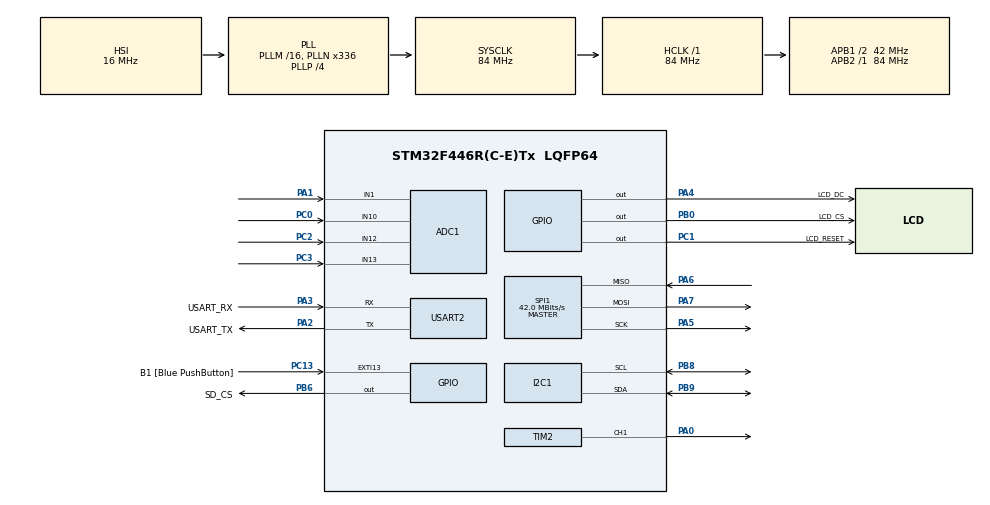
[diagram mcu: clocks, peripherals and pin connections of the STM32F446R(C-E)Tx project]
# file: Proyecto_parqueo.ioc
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ADC1.Channel-0\#ChannelRegularConversion=ADC_CHANNEL_1
ADC1.Channel-1\#ChannelRegularConversion=ADC_CHANNEL_10
ADC1.Channel-2\#ChannelRegularConversion=ADC_CHANNEL_12
ADC1.Channel-3\#ChannelRegularConversion=ADC_CHANNEL_13
ADC1.NbrOfConversion=4
ADC1.NbrOfConversionFlag=1
ADC1.Rank-0\#ChannelRegularConversion=1
ADC1.Rank-1\#ChannelRegularConversion=2
ADC1.Rank-2\#ChannelRegularConversion=3
ADC1.Rank-3\#ChannelRegularConversion=4
ADC1.SamplingTime-0\#ChannelRegularConversion=ADC_SAMPLETIME_480CYCLES
ADC1.SamplingTime-1\#ChannelRegularConversion=ADC_SAMPLETIME_480CYCLES
ADC1.SamplingTime-2\#ChannelRegularConversion=ADC_SAMPLETIME_480CYCLES
ADC1.SamplingTime-3\#ChannelRegularConversion=ADC_SAMPLETIME_480CYCLES
ADC1.ScanConvMode=ENABLE
ADC1.master=1
Dma.Request0=TIM2_CH1
Dma.TIM2_CH1.0.Direction=DMA_MEMORY_TO_PERIPH
Dma.TIM2_CH1.0.FIFOMode=DMA_FIFOMODE_DISABLE
Dma.TIM2_CH1.0.Instance=DMA1_Stream5
Dma.TIM2_CH1.0.MemDataAlignment=DMA_MDATAALIGN_WORD
Dma.TIM2_CH1.0.MemInc=DMA_MINC_ENABLE
Dma.TIM2_CH1.0.Mode=DMA_NORMAL
Dma.TIM2_CH1.0.PeriphDataAlignment=DMA_PDATAALIGN_WORD
Dma.TIM2_CH1.0.PeriphInc=DMA_PINC_DISABLE
Dma.TIM2_CH1.0.Priority=DMA_PRIORITY_HIGH
I2C1.OwnAddress=0x11
Mcu.Family=STM32F4
Mcu.Name=STM32F446R(C-E)Tx
Mcu.Package=LQFP64
NVIC.DMA1_Stream5_IRQn=true\:0\:0\:false\:false\:true\:false\:true\:true
NVIC.I2C1_ER_IRQn=true\:0\:0\:false\:false\:true\:true\:true\:true
NVIC.I2C1_EV_IRQn=true\:0\:0\:false\:false\:true\:true\:true\:true
NVIC.PriorityGroup=NVIC_PRIORITYGROUP_0
PA0-WKUP.GPIO_Speed=GPIO_SPEED_FREQ_VERY_HIGH
PA0-WKUP.Signal=S_TIM2_CH1_ETR
PA1.Signal=ADCx_IN1
PA13.GPIO_Label=TMS
PA13.Mode=Serial_Wire
PA13.Signal=SYS_JTMS-SWDIO
PA14.GPIO_Label=TCK
PA14.Mode=Serial_Wire
PA14.Signal=SYS_JTCK-SWCLK
PA2.GPIO_Label=USART_TX
PA2.Mode=Asynchronous
PA2.Signal=USART2_TX
PA3.GPIO_Label=USART_RX
PA3.Mode=Asynchronous
PA3.Signal=USART2_RX
PA4.GPIO_Label=LCD_DC
PA4.GPIO_Speed=GPIO_SPEED_FREQ_MEDIUM
PA4.Signal=GPIO_Output
PA5.Mode=Full_Duplex_Master
PA5.Signal=SPI1_SCK
PA6.Mode=Full_Duplex_Master
PA6.Signal=SPI1_MISO
PA7.Mode=Full_Duplex_Master
PA7.Signal=SPI1_MOSI
PB0.GPIO_Label=LCD_CS
PB0.GPIO_Speed=GPIO_SPEED_FREQ_MEDIUM
PB0.Signal=GPIO_Output
PB3.GPIO_Label=SWO
PB3.Signal=SYS_JTDO-SWO
PB6.GPIO_Label=SD_CS
PB6.GPIO_Speed=GPIO_SPEED_FREQ_MEDIUM
PB6.Signal=GPIO_Output
PB8.Mode=I2C
PB8.Signal=I2C1_SCL
PB9.Mode=I2C
PB9.Signal=I2C1_SDA
PC0.Signal=ADCx_IN10
PC1.GPIO_Label=LCD_RESET
PC1.GPIO_Speed=GPIO_SPEED_FREQ_MEDIUM
PC1.Signal=GPIO_Output
PC13.GPIO_Label=B1 [Blue PushButton]
PC13.GPIO_ModeDefaultEXTI=GPIO_MODE_IT_FALLING
PC13.Signal=GPXTI13
PC14-OSC32_IN.Mode=LSE-External-Oscillator
PC14-OSC32_IN.Signal=RCC_OSC32_IN
PC15-OSC32_OUT.Mode=LSE-External-Oscillator
PC15-OSC32_OUT.Signal=RCC_OSC32_OUT
PC2.Signal=ADCx_IN12
PC3.Signal=ADCx_IN13
PH0-OSC_IN.Mode=HSE-External-Oscillator
PH0-OSC_IN.Signal=RCC_OSC_IN
PH1-OSC_OUT.Mode=HSE-External-Oscillator
PH1-OSC_OUT.Signal=RCC_OSC_OUT
ProjectManager.HeapSize=0x200
ProjectManager.StackSize=0x400
ProjectManager.TargetToolchain=STM32CubeIDE
RCC.48MHZClocksFreq_Value=84000000
RCC.AHBFreq_Value=84000000
RCC.APB1CLKDivider=RCC_HCLK_DIV2
RCC.APB1Freq_Value=42000000
RCC.APB1TimFreq_Value=84000000
RCC.APB2Freq_Value=84000000
RCC.APB2TimFreq_Value=84000000
RCC.CortexFreq_Value=84000000
RCC.FLatency-AdvancedSettings=FLASH_LATENCY_2
RCC.HCLKFreq_Value=84000000
RCC.HSE_VALUE=8000000
RCC.HSI_VALUE=16000000
RCC.PLLN=336
RCC.PLLP=RCC_PLLP_DIV4
RCC.SYSCLKFreq_VALUE=84000000
RCC.SYSCLKSource=RCC_SYSCLKSOURCE_PLLCLK
RCC.USBFreq_Value=168000000
RCC.VCOOutputFreq_Value=336000000
SH.ADCx_IN1.0=ADC1_IN1,IN1
SH.ADCx_IN10.0=ADC1_IN10,IN10
SH.ADCx_IN12.0=ADC1_IN12,IN12
SH.ADCx_IN13.0=ADC1_IN13,IN13
SH.S_TIM2_CH1_ETR.0=TIM2_CH1,PWM Generation1 CH1
SPI1.BaudRatePrescaler=SPI_BAUDRATEPRESCALER_2
SPI1.CalculateBaudRate=42.0 MBits/s
SPI1.Direction=SPI_DIRECTION_2LINES
SPI1.Mode=SPI_MODE_MASTER
SPI1.VirtualType=VM_MASTER
TIM2.AutoReloadPreload=TIM_AUTORELOAD_PRELOAD_ENABLE
TIM2.Channel-PWM\ Generation1\ CH1=TIM_CHANNEL_1
TIM2.Period=104
USART2.VirtualMode=VM_ASYNC
VP_TIM2_VS_ClockSourceINT.Mode=Internal
board=NUCLEO-F446RE

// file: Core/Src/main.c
/* USER CODE BEGIN Header */
/**
 ******************************************************************************
 * @file           : main.c
 * @brief          : Main program body
 ******************************************************************************
 * @attention
 *
 * Copyright (c) 2024 STMicroelectronics.
 * All rights reserved.
 *
 * This software is licensed under terms that can be found in the LICENSE file
 * in the root directory of this software component.
 * If no LICENSE file comes with this software, it is provided AS-IS.
 *
 ******************************************************************************
 */
/* USER CODE END Header */
#include "main.h"

/* USER CODE BEGIN Includes */
#include "ili9341.h"
#include "bitmaps.h"
#include "neopixel.h"
/* USER CODE END Includes */

/* USER CODE BEGIN PTD */
typedef enum
{
    ESTADO_DISPONIBLE = 0,
    ESTADO_OCUPADO
} EstadoParqueo_t;

typedef struct
{
    EstadoParqueo_t estado;
    uint8_t flag_ocupado;
    uint8_t candidato_ocupado;
    uint8_t cambio_pendiente;
    uint32_t inicio_cambio_ms;
} Parqueo_t;

typedef struct
{
    uint16_t adc_con_luz;
    uint16_t adc_sin_luz;
    uint8_t luz_para_liberar_pct;
    uint8_t luz_para_ocupar_pct;
} ConfiguracionLdr_t;
/* USER CODE END PTD */

/* USER CODE BEGIN PD */

#define NUM_PARQUEOS_LOCALES       4U
#define PERIODO_LECTURA_MS         20U
#define CONFIRMACION_CAMBIO_MS     150U
#define MUESTRAS_PROMEDIO          8U
#define ADC_TIMEOUT_MS            5U
#define ADC_MAXIMO                4095U
#define I2C_COMANDO_GLOBAL        0xA0U
#define GLOBAL_CADUCIDAD_MS       2000U
#define LUZ_PARA_LIBERAR_PCT       60U
#define LUZ_PARA_OCUPAR_PCT        40U
/* USER CODE END PD */

ADC_HandleTypeDef hadc1;

I2C_HandleTypeDef hi2c1;

SPI_HandleTypeDef hspi1;

TIM_HandleTypeDef htim2;
DMA_HandleTypeDef hdma_tim2_ch1;

UART_HandleTypeDef huart2;

/* USER CODE BEGIN PV */
extern const uint16_t fondo[];

static Parqueo_t parqueos[NUM_PARQUEOS_LOCALES];
static uint32_t ultima_lectura_ms;
volatile uint16_t lecturas_ldr[NUM_PARQUEOS_LOCALES];
volatile uint8_t luminosidad_pct[NUM_PARQUEOS_LOCALES];
volatile uint8_t lectura_adc_valida;
volatile uint32_t errores_adc;
static const ConfiguracionLdr_t configuracion_ldr[NUM_PARQUEOS_LOCALES] =
{
    {0U, ADC_MAXIMO, LUZ_PARA_LIBERAR_PCT, LUZ_PARA_OCUPAR_PCT},
    {0U, ADC_MAXIMO, LUZ_PARA_LIBERAR_PCT, LUZ_PARA_OCUPAR_PCT},
    {0U, ADC_MAXIMO, LUZ_PARA_LIBERAR_PCT, LUZ_PARA_OCUPAR_PCT},
    {0U, ADC_MAXIMO, LUZ_PARA_LIBERAR_PCT, LUZ_PARA_OCUPAR_PCT}
};

static volatile uint8_t ocupacion_publicada;
static uint8_t i2c_tx;
static uint8_t i2c_rx_global[3];
static uint8_t i2c_rx_global_activa;
static volatile uint8_t mascara_global_recibida;
static volatile uint8_t mascara_global_valida;
static volatile uint32_t ultima_mascara_ms;
volatile uint8_t mascara_global_caducada = 1U;
static uint8_t mascara_global_dibujada;
static uint8_t mascara_global_inicializada;
static volatile uint8_t i2c_recuperar;
static volatile uint32_t i2c_ultimo_error;
static volatile uint32_t i2c_errores;
static uint32_t i2c_ultimo_intento;
static uint8_t neopixels_inicializados;
static uint8_t ocupacion_neopixels;

/* USER CODE END PV */

void SystemClock_Config(void);
static void MX_GPIO_Init(void);
static void MX_DMA_Init(void);
static void MX_USART2_UART_Init(void);
static void MX_SPI1_Init(void);
static void MX_TIM2_Init(void);
static void MX_ADC1_Init(void);
static void MX_I2C1_Init(void);
/* USER CODE BEGIN PFP */
static void Actualizar_carros(uint16_t espacio, uint16_t disponible);
static void Actualizar_numero(uint16_t parqueos);
static void Parqueos_Init(void);
static HAL_StatusTypeDef ADC_LeerLdr(uint16_t valores[]);
static void Parqueos_ProcesarLdr(void);
static void Parqueos_ActualizarFSM(void);
static void Parqueos_CalcularDisponibles(void);
static void I2C_Escuchar(void);
static void I2C_Servicio(void);
static void TFT_ServicioGlobal(void);
/* USER CODE END PFP */

int main(void)
{

  /* MCU Configuration--------------------------------------------------------*/

  /* Reset of all peripherals, Initializes the Flash interface and the Systick. */
  HAL_Init();

  /* Configure the system clock */
  SystemClock_Config();

  /* Initialize all configured peripherals */
  MX_GPIO_Init();
  MX_DMA_Init();
  MX_USART2_UART_Init();
  MX_SPI1_Init();
  MX_TIM2_Init();
  MX_ADC1_Init();
  MX_I2C1_Init();
  /* USER CODE BEGIN 2 */
    I2C_Escuchar();
	LCD_Init();
	LCD_Bitmap(0, 0, 320, 240, fondo);
	LCD_Print("Global", 260, 50, 1, 0xffffff, 0x0000);
	LCD_Print("Disp. :", 260, 70, 1, 0xffffff, 0x0000);
//	FillRect(0, 0, 319, 206, 0x421b);

	//LCD_Sprite(int x, int y, int width, int height, unsigned char bitmap[],int columns, int index, char flip, char offset);

	//LCD_Bitmap(unsigned int x, unsigned int y, unsigned int width, unsigned int height, unsigned char bitmap[]);
	//LCD_Bitmap(0, 0, 320, 240, fondo);
    /* Mismo estado inicial disponible que STM32 #1; no es calibracion.
     * Las lecturas siguientes confirman la ocupacion con 150 ms de filtro. */
    Parqueos_Init();
    Parqueos_CalcularDisponibles();
    /* No mostrar 0..8 como medicion global hasta recibir el primer A0. */
    LCD_Print("--", 280, 100, 1, 0xffffff, 0x0000);

  /* USER CODE END 2 */

  /* Infinite loop */
  /* USER CODE BEGIN WHILE */
    while (1) {
        I2C_Servicio();
        Parqueos_ProcesarLdr();
        Parqueos_ActualizarFSM();
        TFT_ServicioGlobal();

    /* USER CODE END WHILE */

	}
}

void SystemClock_Config(void)
{
  RCC_OscInitTypeDef RCC_OscInitStruct = {0};
  RCC_ClkInitTypeDef RCC_ClkInitStruct = {0};

  /** Configure the main internal regulator output voltage
  */
  __HAL_RCC_PWR_CLK_ENABLE();
  __HAL_PWR_VOLTAGESCALING_CONFIG(PWR_REGULATOR_VOLTAGE_SCALE3);

  /** Initializes the RCC Oscillators according to the specified parameters
  * in the RCC_OscInitTypeDef structure.
  */
  RCC_OscInitStruct.OscillatorType = RCC_OSCILLATORTYPE_HSI;
  RCC_OscInitStruct.HSIState = RCC_HSI_ON;
  RCC_OscInitStruct.HSICalibrationValue = RCC_HSICALIBRATION_DEFAULT;
  RCC_OscInitStruct.PLL.PLLState = RCC_PLL_ON;
  RCC_OscInitStruct.PLL.PLLSource = RCC_PLLSOURCE_HSI;
  RCC_OscInitStruct.PLL.PLLM = 16;
  RCC_OscInitStruct.PLL.PLLN = 336;
  RCC_OscInitStruct.PLL.PLLP = RCC_PLLP_DIV4;
  RCC_OscInitStruct.PLL.PLLQ = 2;
  RCC_OscInitStruct.PLL.PLLR = 2;
  if (HAL_RCC_OscConfig(&RCC_OscInitStruct) != HAL_OK)
  {
    Error_Handler();
  }

  /** Initializes the CPU, AHB and APB buses clocks
  */
  RCC_ClkInitStruct.ClockType = RCC_CLOCKTYPE_HCLK|RCC_CLOCKTYPE_SYSCLK
                              |RCC_CLOCKTYPE_PCLK1|RCC_CLOCKTYPE_PCLK2;
  RCC_ClkInitStruct.SYSCLKSource = RCC_SYSCLKSOURCE_PLLCLK;
  RCC_ClkInitStruct.AHBCLKDivider = RCC_SYSCLK_DIV1;
  RCC_ClkInitStruct.APB1CLKDivider = RCC_HCLK_DIV2;
  RCC_ClkInitStruct.APB2CLKDivider = RCC_HCLK_DIV1;

  if (HAL_RCC_ClockConfig(&RCC_ClkInitStruct, FLASH_LATENCY_2) != HAL_OK)
  {
    Error_Handler();
  }
}

static void MX_ADC1_Init(void)
{

  ADC_ChannelConfTypeDef sConfig = {0};

  /** Configure the global features of the ADC (Clock, Resolution, Data Alignment and number of conversion)
  */
  hadc1.Instance = ADC1;
  hadc1.Init.ClockPrescaler = ADC_CLOCK_SYNC_PCLK_DIV4;
  hadc1.Init.Resolution = ADC_RESOLUTION_12B;
  hadc1.Init.ScanConvMode = ENABLE;
  hadc1.Init.ContinuousConvMode = DISABLE;
  hadc1.Init.DiscontinuousConvMode = DISABLE;
  hadc1.Init.ExternalTrigConvEdge = ADC_EXTERNALTRIGCONVEDGE_NONE;
  hadc1.Init.ExternalTrigConv = ADC_SOFTWARE_START;
  hadc1.Init.DataAlign = ADC_DATAALIGN_RIGHT;
  hadc1.Init.NbrOfConversion = 4;
  hadc1.Init.DMAContinuousRequests = DISABLE;
  hadc1.Init.EOCSelection = ADC_EOC_SINGLE_CONV;
  if (HAL_ADC_Init(&hadc1) != HAL_OK)
  {
    Error_Handler();
  }

  /** Configure for the selected ADC regular channel its corresponding rank in the sequencer and its sample time.
  */
  sConfig.Channel = ADC_CHANNEL_1;
  sConfig.Rank = 1;
  sConfig.SamplingTime = ADC_SAMPLETIME_480CYCLES;
  if (HAL_ADC_ConfigChannel(&hadc1, &sConfig) != HAL_OK)
  {
    Error_Handler();
  }

  /** Configure for the selected ADC regular channel its corresponding rank in the sequencer and its sample time.
  */
  sConfig.Channel = ADC_CHANNEL_10;
  sConfig.Rank = 2;
  if (HAL_ADC_ConfigChannel(&hadc1, &sConfig) != HAL_OK)
  {
    Error_Handler();
  }

  /** Configure for the selected ADC regular channel its corresponding rank in the sequencer and its sample time.
  */
  sConfig.Channel = ADC_CHANNEL_12;
  sConfig.Rank = 3;
  if (HAL_ADC_ConfigChannel(&hadc1, &sConfig) != HAL_OK)
  {
    Error_Handler();
  }

  /** Configure for the selected ADC regular channel its corresponding rank in the sequencer and its sample time.
  */
  sConfig.Channel = ADC_CHANNEL_13;
  sConfig.Rank = 4;
  if (HAL_ADC_ConfigChannel(&hadc1, &sConfig) != HAL_OK)
  {
    Error_Handler();
  }

}

static void MX_I2C1_Init(void)
{

  hi2c1.Instance = I2C1;
  hi2c1.Init.ClockSpeed = 100000;
  hi2c1.Init.DutyCycle = I2C_DUTYCYCLE_2;
  hi2c1.Init.OwnAddress1 = 34;
  hi2c1.Init.AddressingMode = I2C_ADDRESSINGMODE_7BIT;
  hi2c1.Init.DualAddressMode = I2C_DUALADDRESS_DISABLE;
  hi2c1.Init.OwnAddress2 = 0;
  hi2c1.Init.GeneralCallMode = I2C_GENERALCALL_DISABLE;
  hi2c1.Init.NoStretchMode = I2C_NOSTRETCH_DISABLE;
  if (HAL_I2C_Init(&hi2c1) != HAL_OK)
  {
    Error_Handler();
  }

}

static void MX_SPI1_Init(void)
{

  /* SPI1 parameter configuration*/
  hspi1.Instance = SPI1;
  hspi1.Init.Mode = SPI_MODE_MASTER;
  hspi1.Init.Direction = SPI_DIRECTION_2LINES;
  hspi1.Init.DataSize = SPI_DATASIZE_8BIT;
  hspi1.Init.CLKPolarity = SPI_POLARITY_LOW;
  hspi1.Init.CLKPhase = SPI_PHASE_1EDGE;
  hspi1.Init.NSS = SPI_NSS_SOFT;
  hspi1.Init.BaudRatePrescaler = SPI_BAUDRATEPRESCALER_2;
  hspi1.Init.FirstBit = SPI_FIRSTBIT_MSB;
  hspi1.Init.TIMode = SPI_TIMODE_DISABLE;
  hspi1.Init.CRCCalculation = SPI_CRCCALCULATION_DISABLE;
  hspi1.Init.CRCPolynomial = 10;
  if (HAL_SPI_Init(&hspi1) != HAL_OK)
  {
    Error_Handler();
  }

}

static void MX_TIM2_Init(void)
{

  TIM_ClockConfigTypeDef sClockSourceConfig = {0};
  TIM_MasterConfigTypeDef sMasterConfig = {0};
  TIM_OC_InitTypeDef sConfigOC = {0};

  htim2.Instance = TIM2;
  htim2.Init.Prescaler = 0;
  htim2.Init.CounterMode = TIM_COUNTERMODE_UP;
  htim2.Init.Period = 104;
  htim2.Init.ClockDivision = TIM_CLOCKDIVISION_DIV1;
  htim2.Init.AutoReloadPreload = TIM_AUTORELOAD_PRELOAD_ENABLE;
  if (HAL_TIM_Base_Init(&htim2) != HAL_OK)
  {
    Error_Handler();
  }
  sClockSourceConfig.ClockSource = TIM_CLOCKSOURCE_INTERNAL;
  if (HAL_TIM_ConfigClockSource(&htim2, &sClockSourceConfig) != HAL_OK)
  {
    Error_Handler();
  }
  if (HAL_TIM_PWM_Init(&htim2) != HAL_OK)
  {
    Error_Handler();
  }
  sMasterConfig.MasterOutputTrigger = TIM_TRGO_RESET;
  sMasterConfig.MasterSlaveMode = TIM_MASTERSLAVEMODE_DISABLE;
  if (HAL_TIMEx_MasterConfigSynchronization(&htim2, &sMasterConfig) != HAL_OK)
  {
    Error_Handler();
  }
  sConfigOC.OCMode = TIM_OCMODE_PWM1;
  sConfigOC.Pulse = 0;
  sConfigOC.OCPolarity = TIM_OCPOLARITY_HIGH;
  sConfigOC.OCFastMode = TIM_OCFAST_DISABLE;
  if (HAL_TIM_PWM_ConfigChannel(&htim2, &sConfigOC, TIM_CHANNEL_1) != HAL_OK)
  {
    Error_Handler();
  }
  HAL_TIM_MspPostInit(&htim2);

}

static void MX_USART2_UART_Init(void)
{

  huart2.Instance = USART2;
  huart2.Init.BaudRate = 115200;
  huart2.Init.WordLength = UART_WORDLENGTH_8B;
  huart2.Init.StopBits = UART_STOPBITS_1;
  huart2.Init.Parity = UART_PARITY_NONE;
  huart2.Init.Mode = UART_MODE_TX_RX;
  huart2.Init.HwFlowCtl = UART_HWCONTROL_NONE;
  huart2.Init.OverSampling = UART_OVERSAMPLING_16;
  if (HAL_UART_Init(&huart2) != HAL_OK)
  {
    Error_Handler();
  }

}

static void MX_DMA_Init(void)
{

  /* DMA controller clock enable */
  __HAL_RCC_DMA1_CLK_ENABLE();

  /* DMA interrupt init */
  /* DMA1_Stream5_IRQn interrupt configuration */
  HAL_NVIC_SetPriority(DMA1_Stream5_IRQn, 0, 0);
  HAL_NVIC_EnableIRQ(DMA1_Stream5_IRQn);

}

static void MX_GPIO_Init(void)
{
  GPIO_InitTypeDef GPIO_InitStruct = {0};

  /* GPIO Ports Clock Enable */
  __HAL_RCC_GPIOC_CLK_ENABLE();
  __HAL_RCC_GPIOH_CLK_ENABLE();
  __HAL_RCC_GPIOA_CLK_ENABLE();
  __HAL_RCC_GPIOB_CLK_ENABLE();

  /*Configure GPIO pin Output Level */
  HAL_GPIO_WritePin(LCD_RESET_GPIO_Port, LCD_RESET_Pin, GPIO_PIN_RESET);

  /*Configure GPIO pin Output Level */
  HAL_GPIO_WritePin(LCD_DC_GPIO_Port, LCD_DC_Pin, GPIO_PIN_RESET);

  /*Configure GPIO pin Output Level */
  HAL_GPIO_WritePin(GPIOB, LCD_CS_Pin|SD_CS_Pin, GPIO_PIN_RESET);

  /*Configure GPIO pin : B1_Pin */
  GPIO_InitStruct.Pin = B1_Pin;
  GPIO_InitStruct.Mode = GPIO_MODE_IT_FALLING;
  GPIO_InitStruct.Pull = GPIO_NOPULL;
  HAL_GPIO_Init(B1_GPIO_Port, &GPIO_InitStruct);

  /*Configure GPIO pin : LCD_RESET_Pin */
  GPIO_InitStruct.Pin = LCD_RESET_Pin;
  GPIO_InitStruct.Mode = GPIO_MODE_OUTPUT_PP;
  GPIO_InitStruct.Pull = GPIO_NOPULL;
  GPIO_InitStruct.Speed = GPIO_SPEED_FREQ_MEDIUM;
  HAL_GPIO_Init(LCD_RESET_GPIO_Port, &GPIO_InitStruct);

  /*Configure GPIO pin : LCD_DC_Pin */
  GPIO_InitStruct.Pin = LCD_DC_Pin;
  GPIO_InitStruct.Mode = GPIO_MODE_OUTPUT_PP;
  GPIO_InitStruct.Pull = GPIO_NOPULL;
  GPIO_InitStruct.Speed = GPIO_SPEED_FREQ_MEDIUM;
  HAL_GPIO_Init(LCD_DC_GPIO_Port, &GPIO_InitStruct);

  /*Configure GPIO pins : LCD_CS_Pin SD_CS_Pin */
  GPIO_InitStruct.Pin = LCD_CS_Pin|SD_CS_Pin;
  GPIO_InitStruct.Mode = GPIO_MODE_OUTPUT_PP;
  GPIO_InitStruct.Pull = GPIO_NOPULL;
  GPIO_InitStruct.Speed = GPIO_SPEED_FREQ_MEDIUM;
  HAL_GPIO_Init(GPIOB, &GPIO_InitStruct);

}

/* USER CODE BEGIN 4 */
/* Solo desde main: conservar independientes sensores y NeoPixels locales.
 * La mascara global nunca sobrescribe ocupacion_publicada. */
void Parqueo_PublicarConfirmados(uint8_t mascara)
{
    uint8_t nueva = mascara & 0x0FU;
    uint8_t anterior = ocupacion_neopixels;
    ocupacion_publicada = nueva;
    for (uint32_t i = 0U; i < 4U; ++i) {
        if (!neopixels_inicializados || ((anterior ^ nueva) & (1U << i))) {
            uint8_t ocupado = (nueva >> i) & 1U;
            (void)neopixel((int)i, ocupado ? 180 : 0, ocupado ? 0 : 180, 0);
        }
    }
    ocupacion_neopixels = nueva;
    neopixels_inicializados = 1U;
}

static void TFT_ServicioGlobal(void)
{
    uint8_t mascara;
    uint8_t valida;
    uint32_t instante;
    /* Solo copiar datos compartidos: nunca dibujar con IRQ deshabilitadas.
     * Restaurar PRIMASK conserva el estado previo y evita mezclar paquetes. */
    uint32_t primask = __get_PRIMASK();
    __disable_irq();
    mascara = mascara_global_recibida;
    valida = mascara_global_valida;
    instante = ultima_mascara_ms;
    __set_PRIMASK(primask);

    mascara_global_caducada = (uint8_t)(!valida ||
        (uint32_t)(HAL_GetTick() - instante) >= GLOBAL_CADUCIDAD_MS);
    if (!valida) { return; }
    if (mascara_global_inicializada && mascara == mascara_global_dibujada) {
        return;
    }
    uint8_t cambios = mascara_global_inicializada
                    ? (uint8_t)(mascara ^ mascara_global_dibujada) : 0xFFU;
    uint16_t disponibles = 0U;
    for (uint32_t i = 0U; i < 8U; ++i) {
        uint8_t ocupado = (mascara >> i) & 1U;
        disponibles += (uint16_t)(1U - ocupado);
        if ((cambios & (1U << i)) != 0U) {
            Actualizar_carros((uint16_t)(i + 1U), (uint16_t)(1U - ocupado));
        }
    }
    Actualizar_numero(disponibles);
    mascara_global_dibujada = mascara;
    mascara_global_inicializada = 1U;
    /* Ante caducidad se conserva la ultima imagen. Indicacion visual de
     * perdida de comunicacion pendiente de definir, segun especificacion. */
}

static void I2C_Escuchar(void)
{
    if (HAL_I2C_EnableListen_IT(&hi2c1) != HAL_OK) {
        i2c_recuperar = 1U;
    }
}

void HAL_I2C_AddrCallback(I2C_HandleTypeDef *hi2c,
                        uint8_t TransferDirection, uint16_t AddrMatchCode)
{
    HAL_StatusTypeDef resultado;
    (void)AddrMatchCode;
    if (hi2c->Instance != I2C1 || i2c_recuperar) { return; }
    i2c_rx_global_activa = 0U;
    if (TransferDirection == I2C_DIRECTION_RECEIVE) {
        i2c_tx = ocupacion_publicada & 0x0FU; /* Buffer estable hasta STOP. */
        resultado = HAL_I2C_Slave_Seq_Transmit_IT(hi2c, &i2c_tx, 1U,
                                               I2C_FIRST_AND_LAST_FRAME);
    } else {
        i2c_rx_global[0] = 0U;
        i2c_rx_global[1] = 0U;
        i2c_rx_global_activa = 1U;
        resultado = HAL_I2C_Slave_Seq_Receive_IT(hi2c, i2c_rx_global, 2U,
                                              I2C_FIRST_AND_LAST_FRAME);
    }
    if (resultado != HAL_OK) {
        i2c_rx_global_activa = 0U;
        i2c_recuperar = 1U;
    }
}

void HAL_I2C_SlaveRxCpltCallback(I2C_HandleTypeDef *hi2c)
{
    if (hi2c->Instance != I2C1 || i2c_recuperar || !i2c_rx_global_activa) {
        return;
    }
    i2c_rx_global_activa = 0U;
    /* No publicar paquetes truncados ni identificadores desconocidos. */
    if (hi2c->XferCount == 0U && i2c_rx_global[0] == I2C_COMANDO_GLOBAL) {
        mascara_global_recibida = i2c_rx_global[1];
        ultima_mascara_ms = HAL_GetTick();
        mascara_global_valida = 1U;
    }
}

void HAL_I2C_ListenCpltCallback(I2C_HandleTypeDef *hi2c)
{
    if (hi2c->Instance == I2C1) { i2c_rx_global_activa = 0U; }
    if (hi2c->Instance == I2C1 && !i2c_recuperar) { I2C_Escuchar(); }
}

void HAL_I2C_ErrorCallback(I2C_HandleTypeDef *hi2c)
{
    if (hi2c->Instance != I2C1) { return; }
    i2c_rx_global_activa = 0U;
    i2c_ultimo_error = HAL_I2C_GetError(hi2c);
    /* El NACK final normal de una lectura de 1 byte lo gestiona HAL.
     * Si HAL llega a este callback (incluso AF), recuperar fuera de ISR. */
    ++i2c_errores;
    i2c_recuperar = 1U;
}

static void I2C_Servicio(void)
{
    uint32_t ahora = HAL_GetTick();
    if (!i2c_recuperar || (uint32_t)(ahora - i2c_ultimo_intento) < 50U) {
        return;
    }
    i2c_ultimo_intento = ahora;
    /* Aislar SOLO I2C1; SysTick, TIM2 y DMA siguen activos.
     * No generar pulsos de bus: tambien esta conectada STM32 #1. */
    HAL_NVIC_DisableIRQ(I2C1_EV_IRQn);
    HAL_NVIC_DisableIRQ(I2C1_ER_IRQn);
    i2c_rx_global_activa = 0U;
    (void)HAL_I2C_DeInit(&hi2c1);
    __HAL_RCC_I2C1_FORCE_RESET();
    __HAL_RCC_I2C1_RELEASE_RESET();
    HAL_NVIC_ClearPendingIRQ(I2C1_EV_IRQn);
    HAL_NVIC_ClearPendingIRQ(I2C1_ER_IRQn);
    /* MSP habilita las IRQ al reinicializar; CR2 aun no tiene IT activas. */
    if (HAL_I2C_Init(&hi2c1) == HAL_OK) {
        i2c_recuperar = 0U;
        I2C_Escuchar();
    }
    /* Ante fallo se reintenta en 50 ms sin Error_Handler ni HAL_Delay.
     * Un SDA/SCL retenido externamente requiere liberar la causa fisica. */
}

void Actualizar_carros(uint16_t espacio, uint16_t disponible)
{
    uint16_t x;
    uint16_t y;

    if (espacio < 1 || espacio > 8) {
        return;
    }

    // Coordenadas X: 4, 69, 134 y 199
    if (espacio == 1 || espacio == 5){
    	x = 4;
    }

    else if (espacio == 2 || espacio == 6){
    	x = 69;
    }
    else if (espacio == 3 || espacio == 7){
    	x = 134;
    }
    else if (espacio == 4 || espacio == 8){
    	x = 197;
    }
    // Espacios 1-4 arriba; espacios 5-8 abajo
    if (espacio <= 4) {
        y = 3;
    } else {
        y = 145;
    }

    if (disponible == 0) {
        // Espacio ocupado
        LCD_BitmapTransparent(x, y, 58, 92, carro, 0x0000);
    } else {
        // Espacio disponible
        LCD_BitmapTransparent(x, y, 58, 92, borrar_carro, 0x0000);
    }
}

void Actualizar_numero(uint16_t parqueos){
	LCD_Sprite(280,100,16,16,numeros,9,parqueos,0,0);
}

static void Parqueos_Init(void)
{
    for (uint32_t sensor = 0U; sensor < NUM_PARQUEOS_LOCALES; ++sensor)
    {
        parqueos[sensor].estado = ESTADO_DISPONIBLE;
        parqueos[sensor].flag_ocupado = 0U;
        parqueos[sensor].cambio_pendiente = 0U;
        const ConfiguracionLdr_t *config = &configuracion_ldr[sensor];
        if (config->adc_con_luz == config->adc_sin_luz ||
            config->adc_con_luz > ADC_MAXIMO ||
            config->adc_sin_luz > ADC_MAXIMO ||
            config->luz_para_liberar_pct > 100U ||
            config->luz_para_ocupar_pct >= config->luz_para_liberar_pct)
        {
            Error_Handler();
        }
    }
    ultima_lectura_ms = HAL_GetTick() - PERIODO_LECTURA_MS;
}

static HAL_StatusTypeDef ADC_LeerLdr(uint16_t valores[])
{
    uint32_t sumas[NUM_PARQUEOS_LOCALES] = {0};
    HAL_StatusTypeDef resultado = HAL_OK;

    for (uint32_t muestra = 0U; muestra <= MUESTRAS_PROMEDIO; ++muestra)
    {
        for (uint32_t sensor = 0U; sensor < NUM_PARQUEOS_LOCALES; ++sensor)
        {
            resultado = HAL_ADC_Start(&hadc1);
            if (resultado != HAL_OK) { goto finalizar; }
            if (HAL_ADC_GetError(&hadc1) != HAL_ADC_ERROR_NONE)
            {
                resultado = HAL_ERROR;
                goto finalizar;
            }
            resultado = HAL_ADC_PollForConversion(&hadc1, ADC_TIMEOUT_MS);
            if (resultado != HAL_OK) { goto finalizar; }
            if (__HAL_ADC_GET_FLAG(&hadc1, ADC_FLAG_OVR) != RESET)
            {
                resultado = HAL_ERROR;
                goto finalizar;
            }
            uint32_t lectura = HAL_ADC_GetValue(&hadc1);
            if (lectura > ADC_MAXIMO)
            {
                resultado = HAL_ERROR;
                goto finalizar;
            }
            if (muestra != 0U) { sumas[sensor] += lectura; }
        }
        if (HAL_ADC_Stop(&hadc1) != HAL_OK ||
            (hadc1.Instance->CR2 & ADC_CR2_ADON) != 0U)
        {
            Error_Handler();
        }
    }
    for (uint32_t sensor = 0U; sensor < NUM_PARQUEOS_LOCALES; ++sensor)
    {
        valores[sensor] = (uint16_t)((sumas[sensor] + MUESTRAS_PROMEDIO / 2U)
                                    / MUESTRAS_PROMEDIO);
    }
    return HAL_OK;

finalizar:
    if (HAL_ADC_Stop(&hadc1) != HAL_OK ||
        (hadc1.Instance->CR2 & ADC_CR2_ADON) != 0U)
    {
        Error_Handler();
    }
    return resultado;
}

static void Parqueos_ProcesarLdr(void)
{
    uint32_t ahora = HAL_GetTick();
    if ((uint32_t)(ahora - ultima_lectura_ms) < PERIODO_LECTURA_MS) { return; }
    ultima_lectura_ms = ahora;
    uint16_t valores[NUM_PARQUEOS_LOCALES];

    if (ADC_LeerLdr(valores) != HAL_OK)
    {
        lectura_adc_valida = 0U;
        if (errores_adc < UINT32_MAX) { ++errores_adc; }
        for (uint32_t sensor = 0U; sensor < NUM_PARQUEOS_LOCALES; ++sensor)
        {
            parqueos[sensor].cambio_pendiente = 0U;
        }
        return; /* Conservar el ultimo numero y reintentar la lectura. */
    }
    lectura_adc_valida = 1U;
    ahora = HAL_GetTick();

    for (uint32_t sensor = 0U; sensor < NUM_PARQUEOS_LOCALES; ++sensor)
    {
        const ConfiguracionLdr_t *config = &configuracion_ldr[sensor];
        Parqueo_t *parqueo = &parqueos[sensor];
        lecturas_ldr[sensor] = valores[sensor];
        int32_t luz = (100 * ((int32_t)valores[sensor] - config->adc_sin_luz))
                    / ((int32_t)config->adc_con_luz - config->adc_sin_luz);
        if (luz < 0) { luz = 0; }
        if (luz > 100) { luz = 100; }
        luminosidad_pct[sensor] = (uint8_t)luz;

        uint8_t ocupado;
        if (luz >= config->luz_para_liberar_pct) { ocupado = 0U; }
        else if (luz <= config->luz_para_ocupar_pct) { ocupado = 1U; }
        else
        {
            parqueo->cambio_pendiente = 0U;
            continue;
        }

        if (ocupado == parqueo->flag_ocupado)
        {
            parqueo->cambio_pendiente = 0U;
        }
        else if (parqueo->cambio_pendiente == 0U ||
                 ocupado != parqueo->candidato_ocupado)
        {
            parqueo->candidato_ocupado = ocupado;
            parqueo->inicio_cambio_ms = ahora;
            parqueo->cambio_pendiente = 1U;
        }
        else if ((uint32_t)(ahora - parqueo->inicio_cambio_ms)
                 >= CONFIRMACION_CAMBIO_MS)
        {
            parqueo->flag_ocupado = ocupado;
            parqueo->cambio_pendiente = 0U;
        }
    }
}

static void Parqueos_ActualizarFSM(void)
{
    for (uint32_t sensor = 0U; sensor < NUM_PARQUEOS_LOCALES; ++sensor)
    {
        Parqueo_t *parqueo = &parqueos[sensor];
        switch (parqueo->estado)
        {
            case ESTADO_DISPONIBLE:
                if (parqueo->flag_ocupado != 0U)
                    parqueo->estado = ESTADO_OCUPADO;
                break;
            case ESTADO_OCUPADO:
                if (parqueo->flag_ocupado == 0U)
                    parqueo->estado = ESTADO_DISPONIBLE;
                break;
            default:
                parqueo->estado = parqueo->flag_ocupado != 0U
                                ? ESTADO_OCUPADO : ESTADO_DISPONIBLE;
                break;
        }
    }
    Parqueos_CalcularDisponibles();
}

static void Parqueos_CalcularDisponibles(void)
{
    uint8_t mascara = 0U;
    for (uint32_t sensor = 0U; sensor < NUM_PARQUEOS_LOCALES; ++sensor)
    {
        if (parqueos[sensor].estado == ESTADO_OCUPADO)
        {
            mascara |= (uint8_t)(1U << sensor);
        }
    }
    Parqueo_PublicarConfirmados(mascara);
}

/* USER CODE END 4 */

void Error_Handler(void)
{
	__disable_irq();
	while (1) {
	}
}
